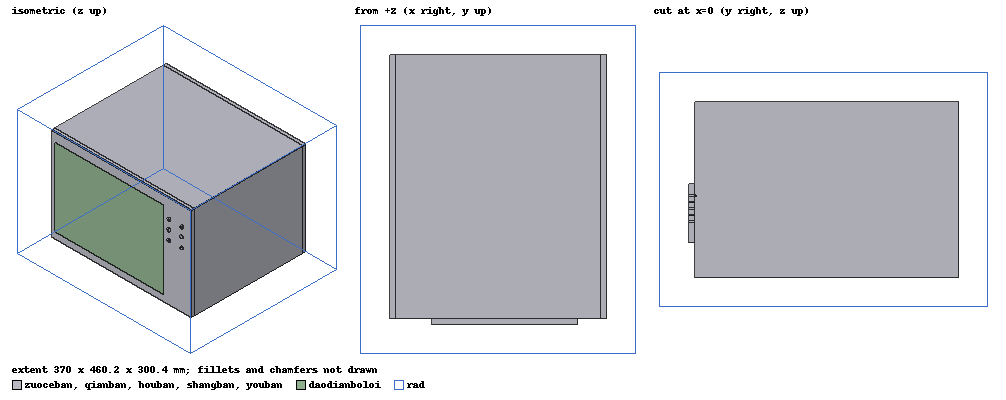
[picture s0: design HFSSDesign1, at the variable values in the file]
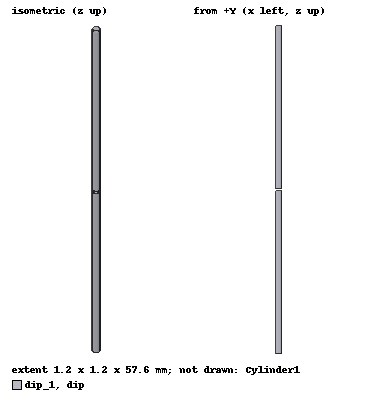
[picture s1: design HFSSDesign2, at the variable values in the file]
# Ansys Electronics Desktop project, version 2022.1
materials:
  vacuum: permittivity=1
  steel_stainless: conductivity=1100000
  daodianboli: conductivity=14.7
  pec: conductivity=1e+30
  air: permittivity=1.0006 permeability=1.0000004

design HFSSDesign1 (HFSS, DrivenModal, model units mm)
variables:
  length = 450mm
  width = 350mm
  height = 300mm
  kong_radius = 0
  dwidth = 10mm
  dlength = 350mm
  dheight = 250mm
  kwidth_ce = 0.091mm
  kradius_ce = 0.107mm
  kwidth_max = 4.55mm
  kradius_max = 5.33mm
  lambda = 120mm
  tlength = 0.48*lambda
  gap = 0.24mm
  dip_length = tlength/2-gap/2
  dip_radius = lambda/200
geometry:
  qianban [steel_stainless] = box(corner=(width/2, -length/2, -height/2), size=(dwidth, length, height))
  shangban [steel_stainless] = box(corner=(-width/2, -length/2, height/2), size=(width, length, 0.2mm))
  youban [steel_stainless] = box(corner=(-width/2, length/2, -height/2), size=(width, 0.2mm, height))
  houban [steel_stainless] = qianban.duplicate_mirror(point=(0mm, 0mm, 0mm), normal=(-1mm, 0mm, 0mm))
  xiaban [steel_stainless] = shangban.duplicate_mirror(point=(0mm, 0mm, 0mm), normal=(0mm, 0mm, -1mm))
  coordinate_system RelativeCS1 = origin=(175.2mm, -225mm, -150mm) x=(1mm, 0mm, 0mm) y=(0mm, 1mm, 0mm)
  Box1 = box(corner=(-1mm, 10mm, 20mm), size=(11000mm, dlength, dheight)) in RelativeCS1
  qianban.subtract(Box1)
  zuoban = youban.duplicate_mirror(point=(0mm, 0mm, 0mm), normal=(0mm, -1mm, 0mm))
  coordinate_system RelativeCS2 = origin=(-0.2mm, 10mm, 20mm) x=(1mm, 0mm, 0mm) y=(0mm, 1mm, 0mm) in RelativeCS1
  daodianboloi [daodianboli] = box(corner=(0mm, 0mm, 0mm), size=(10mm, 350mm, 250mm)) in RelativeCS2
  Cylinder1 = cylinder(axis=X, base_centre=(-10mm, 80mm, 20mm), radius=kradius_max, height=40mm) in RelativeCS1
  Cylinder1.move(0mm, 300mm, 220mm) in RelativeCS1
  Cylinder1_1 = Cylinder1.duplicate_along_line(step=(1mm, 40mm, 0mm), total=2) in RelativeCS1
  Cylinder1_2, Cylinder1_3 = Cylinder1.duplicate_along_line(step=(1mm, 0mm, -30mm), total=3) in RelativeCS1
  Cylinder1_1_1, Cylinder1_1_2 = Cylinder1_1.duplicate_along_line(step=(0mm, 0mm, -30mm), total=3) in RelativeCS1
  coordinate_system RelativeCS3 = origin=(-175mm, -225.2mm, -150mm) x=(1mm, 0mm, 0mm) y=(0mm, 1mm, 0mm)
  zuoceban [steel_stainless] = box(corner=(91mm, 0mm, 40mm), size=(250mm, -9.8mm, 100mm)) in RelativeCS3
  zuoceban.move(-30mm, 0mm, 20mm) in RelativeCS3
  zuoceban.chamfer(Edges=zuoceban.edge(4 of 12, 10 of 12, 6 of 12, 9 of 12) LeftDistance=9.8mm RightDistance=9.8mm ChamferType=Symmetric)
  Box2 = box(corner=(40mm, -100mm, -20mm), size=(20mm, 50mm, 3mm)) in RelativeCS3
  Box2.move(70mm, 0mm, 159mm) in RelativeCS3
  Box2.move(1mm, 70mm, -1mm) in RelativeCS3
  Box2_1..Box2_4 = Box2.duplicate_along_line(step=(28mm, 0mm, 0mm), total=5) in RelativeCS3
  Box2_5..Box2_8 = Box2.duplicate_along_line(step=(0mm, 0mm, -11mm), total=5) in RelativeCS3
  Box2_1_1..Box2_1_4 = Box2_1.duplicate_along_line(step=(0mm, 0mm, -11mm), total=5) in RelativeCS3
  Box2_2_1..Box2_2_4 = Box2_2.duplicate_along_line(step=(0mm, 0mm, -11mm), total=5) in RelativeCS3
  Box2_3_1..Box2_3_4 = Box2_3.duplicate_along_line(step=(0mm, 0mm, -11mm), total=5) in RelativeCS3
  Box2_4_1..Box2_4_4 = Box2_4.duplicate_along_line(step=(0mm, 0mm, -11mm), total=5) in RelativeCS3
  zuoceban.unite(zuoban)
  zuoceban.subtract(Box2, Box2_1, Box2_1_1..Box2_1_4, Box2_2, Box2_2_1..Box2_2_4, Box2_3, Box2_3_1..Box2_3_4, Box2_4, Box2_4_1..Box2_4_4)
  zuoceban.subtract(Box2_5..Box2_8)
  coordinate_system RelativeCS4 = origin=(-128mm, 0mm, 138mm) x=(1mm, 0mm, 0mm) y=(0mm, 1mm, 0mm) in RelativeCS1
  coordinate_system RelativeCS5 = origin=(-2mm, 0mm, 4mm) x=(1mm, 0mm, 0mm) y=(0mm, 1mm, 0mm) in RelativeCS4
  Box3 = box(corner=(1.75mm, 0mm, 0mm), size=(22mm, 6mm, 1mm)) in RelativeCS5
  Box3.rotate(axis=X, angle=-45deg) in RelativeCS5
  Box3.move(0mm, -0.4mm, 0mm) in RelativeCS5
  Box3.move(0mm, -0.2mm, 0mm) in RelativeCS5
  Box3.move(0mm, -0.2mm, 0mm) in RelativeCS5
  Box3_1..Box3_4 = Box3.duplicate_along_line(step=(-28mm, 0mm, 0mm), total=5) in RelativeCS5
  qianban.subtract(Cylinder1, Cylinder1_1, Cylinder1_1_1, Cylinder1_1_2, Cylinder1_2, Cylinder1_3)
  zuoceban.unite(Box3, Box3_1..Box3_4)
  dip [pec] = cylinder(axis=Z, base_centre=(0mm, 0mm, gap/2), radius=dip_radius, height=dip_length)
  dip_1 [pec] = dip.duplicate_around_axis(axis=Y, angle=180deg, total=2)
  Rectangle1 = rectangle(corner=(0mm, -dip_radius, -gap/2), y_size=2*dip_radius, z_size=gap)
  rad [air] = box(corner=(-dwidth-50mm, -9.8mm-50mm, -50.2mm), size=(width+2*dwidth+100mm, length+0.4mm+9.8mm+50mm+50mm, height+0.4mm+100mm)) in RelativeCS3
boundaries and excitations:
  1: Lumped Port Objects=Rectangle1 Modes{Mode1{IntLine{(0, 0, -0.12) -> (0, 0, 0.12)} CharImp=Zpi}} Impedance=73.2ohm
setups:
  Setup1: HfssDriven Frequency=2.45GHz MaxDeltaS=0.02 MaximumPasses=20 MinimumPasses=1 MinimumConvergedPasses=1 PercentRefinement=30 BasisOrder=1 PortAccuracy=2 DrivenSolverType="Direct Solver"
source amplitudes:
  1:1: 500W 0deg
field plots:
  Mag_E2: E Field over rad.face(3 of 6) on Setup1 : LastAdaptive at Freq=2.45GHz Phase=0deg
  Mag_E3: E Field over rad.face(1 of 6) on Setup1 : LastAdaptive at Freq=2.45GHz Phase=0deg

design HFSSDesign2 (HFSS, DrivenModal, model units mm)
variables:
  tlength = 0.48*lambda
  gap = 0.24mm
  dip_length = tlength/2-gap/2
  dip_radius = lambda/200
  lambda = 120mm
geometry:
  dip [pec] = cylinder(axis=Z, base_centre=(0mm, 0mm, gap/2), radius=dip_radius, height=dip_length)
  dip_1 [pec] = dip.duplicate_around_axis(axis=Y, angle=180deg, total=2)
  Rectangle1 = rectangle(corner=(0mm, -dip_radius, -gap/2), y_size=2*dip_radius, z_size=gap)
  Cylinder1 [air] = cylinder(axis=Z, base_centre=(0mm, 0mm, -dip_length-gap/2-lambda/10), radius=dip_radius+lambda/4, height=tlength+lambda/5)
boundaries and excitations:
  Rad1: Radiation Objects=Cylinder1
  1: Lumped Port Objects=Rectangle1 Modes{Mode1{IntLine{(0, 0, -0.12) -> (0, 0, 0.12)} CharImp=Zpi}} Impedance=73.2ohm
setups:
  Setup1: HfssDriven Frequency=2.45GHz MaxDeltaS=0.02 MaximumPasses=20 MinimumPasses=1 MinimumConvergedPasses=1 PercentRefinement=30 BasisOrder=1 PortAccuracy=2 DrivenSolverType="Direct Solver"
    sweep Sweep: 2GHz to 3GHz step 0.01GHz; Type=Fast SaveFields
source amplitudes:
  1:1: 1W 0deg
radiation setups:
  E: Infinite Sphere Theta=-180deg..180deg step 1deg Phi=0deg..0deg step 0deg
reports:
  S Parameter Plot 1: dB(S(1,1)) vs Freq on Setup1 : Sweep
  VSWR Plot 1: dB(VSWR(1)) vs Freq on Setup1 : Sweep
  Gain Plot 1: dB(GainTotal) vs Theta on Setup1 : LastAdaptive, E [Phi=all Freq=2.45GHz]
